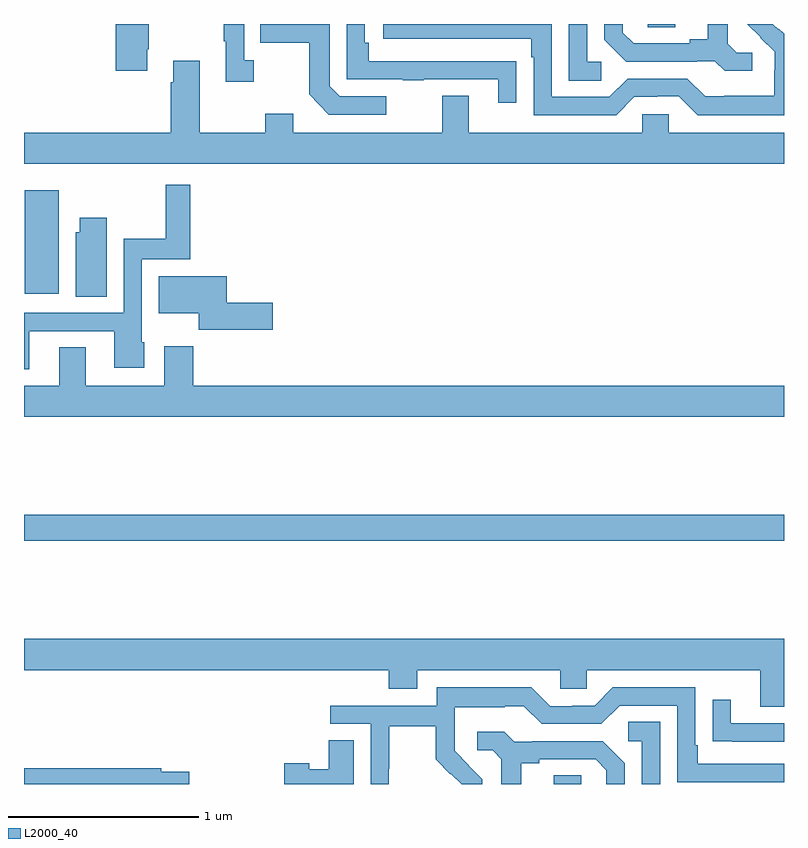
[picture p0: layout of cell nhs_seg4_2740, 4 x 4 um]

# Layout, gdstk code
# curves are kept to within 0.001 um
import gdstk
lib = gdstk.Library(unit=1e-6, precision=1e-09)
def R(c, l, rs):  # rectangles x0, y0, x1, y1
    for r in rs: c.add(gdstk.rectangle(r[:2], r[2:], *l))
def P(c, l, *ps):  # polygons
    for p in ps: c.add(gdstk.Polygon(p, *l))
L2000_40 = (2000, 40)

nhs_seg4_2740 = lib.new_cell('nhs_seg4_2740')
R(nhs_seg4_2740, L2000_40, [(257.789,782.9,257.934,782.945), (255,784.18,259,784.316), (255.005,785.48,255.184,786.025), (258.282,786.883,258.427,786.9)])
P(nhs_seg4_2740, L2000_40, [(255.649,786.766),(255.657,786.766),(255.657,786.9),(255.482,786.9),(255.482,786.654),(255.649,786.654)],
  [(258.037,786.702),(257.964,786.702),(257.964,786.9),(257.868,786.9),(257.868,786.601),(258.037,786.601)],
  [(259,786.848),(258.972,786.876),(258.969,786.873),(258.942,786.9),(258.806,786.9),(258.95,786.754),(258.95,786.657),(258.948,786.657),(258.948,786.523),(258.685,786.523),(258.685,786.519),(258.585,786.519),(258.492,786.612),(258.177,786.612),(258.081,786.516),(257.778,786.516),(257.778,786.9),(256.892,786.9),(256.892,786.822),(257.669,786.822),(257.669,786.725),(257.682,786.725),(257.682,786.42),(258.117,786.42),(258.213,786.516),(258.332,786.516),(258.332,786.519),(258.447,786.519),(258.547,786.419),(259,786.419)],
  [(257.591,786.704),(257.489,786.704),(257.489,786.705),(256.814,786.705),(256.814,786.802),(256.794,786.802),(256.794,786.9),(256.698,786.9),(256.698,786.609),(256.993,786.609),(256.993,786.604),(257.105,786.604),(257.105,786.609),(257.495,786.609),(257.495,786.486),(257.591,786.486)],
  [(258.832,786.75),(258.75,786.75),(258.703,786.797),(258.703,786.9),(258.599,786.9),(258.599,786.821),(258.503,786.821),(258.503,786.798),(258.208,786.798),(258.151,786.855),(258.151,786.9),(258.054,786.9),(258.054,786.818),(258.17,786.702),(258.542,786.702),(258.542,786.705),(258.636,786.705),(258.688,786.653),(258.832,786.653)],
  [(256.906,786.519),(256.662,786.519),(256.608,786.573),(256.608,786.9),(256.243,786.9),(256.243,786.802),(256.5,786.802),(256.5,786.529),(256.605,786.423),(256.906,786.423)],
  [(256.21,786.71),(256.158,786.71),(256.158,786.9),(256.05,786.9),(256.05,786.809),(256.061,786.809),(256.061,786.597),(256.21,786.597)],
  [(259,786.328),(258.393,786.328),(258.393,786.426),(258.255,786.426),(258.255,786.328),(257.341,786.328),(257.341,786.523),(257.201,786.523),(257.201,786.328),(256.417,786.328),(256.417,786.427),(256.27,786.427),(256.27,786.328),(255.925,786.328),(255.925,786.706),(255.785,786.706),(255.785,786.593),(255.773,786.593),(255.773,786.328),(255,786.328),(255,786.164),(259,786.164)],
  [(255.028,785.283),(255.476,785.283),(255.476,785.09),(255.634,785.09),(255.634,785.226),(255.621,785.226),(255.621,785.661),(255.875,785.661),(255.875,786.055),(255.747,786.055),(255.747,785.77),(255.525,785.77),(255.525,785.379),(255,785.379),(255,785.082),(255.028,785.082)],
  [(255.436,785.881),(255.293,785.881),(255.293,785.805),(255.272,785.805),(255.272,785.464),(255.436,785.464)],
  [(256.309,785.432),(256.066,785.432),(256.066,785.572),(255.71,785.572),(255.71,785.378),(255.92,785.378),(255.92,785.29),(256.309,785.29)],
  [(259,784.996),(255.89,784.996),(255.89,785.203),(255.737,785.203),(255.737,784.996),(255.325,784.996),(255.325,785.198),(255.185,785.198),(255.185,784.996),(255,784.996),(255,784.832),(259,784.832)],
  [(259,783.664),(255,783.664),(255,783.5),(256.919,783.5),(256.919,783.401),(257.071,783.401),(257.071,783.5),(257.823,783.5),(257.823,783.402),(257.961,783.402),(257.961,783.5),(258.875,783.5),(258.875,783.306),(259,783.306)],
  [(256.92,782.98),(256.923,782.98),(256.923,783.204),(257.167,783.204),(257.167,783.029),(257.244,782.952),(257.247,782.955),(257.303,782.9),(257.412,782.9),(257.412,782.926),(257.266,783.074),(257.266,783.171),(257.268,783.171),(257.268,783.305),(257.531,783.305),(257.531,783.309),(257.631,783.309),(257.724,783.216),(258.039,783.216),(258.135,783.312),(258.438,783.312),(258.438,782.91),(259,782.91),(259,783.006),(258.547,783.006),(258.547,783.103),(258.534,783.103),(258.534,783.408),(258.099,783.408),(258.003,783.312),(257.885,783.312),(257.885,783.309),(257.769,783.309),(257.669,783.409),(257.172,783.409),(257.172,783.312),(256.611,783.312),(256.611,783.216),(256.824,783.216),(256.824,782.9),(256.92,782.9)],
  [(259,783.219),(258.721,783.219),(258.721,783.343),(258.625,783.343),(258.625,783.124),(258.727,783.124),(258.727,783.123),(259,783.123)],
  [(258.348,783.227),(258.18,783.227),(258.18,783.126),(258.252,783.126),(258.252,782.9),(258.348,782.9)],
  [(257.617,783.008),(257.713,783.008),(257.713,783.03),(258.008,783.03),(258.065,782.973),(258.065,782.9),(258.162,782.9),(258.162,783.01),(258.046,783.126),(257.674,783.126),(257.674,783.123),(257.58,783.123),(257.528,783.175),(257.385,783.175),(257.385,783.078),(257.466,783.078),(257.513,783.031),(257.513,782.9),(257.617,782.9)],
  [(256.735,783.131),(256.604,783.131),(256.604,782.977),(256.5,782.977),(256.5,783.008),(256.37,783.008),(256.37,782.9),(256.735,782.9)],
  [(255.869,782.964),(255.722,782.964),(255.722,782.984),(255,782.984),(255,782.9),(255.869,782.9)])

lib.write_gds('nhs_seg4_2740.gds')
